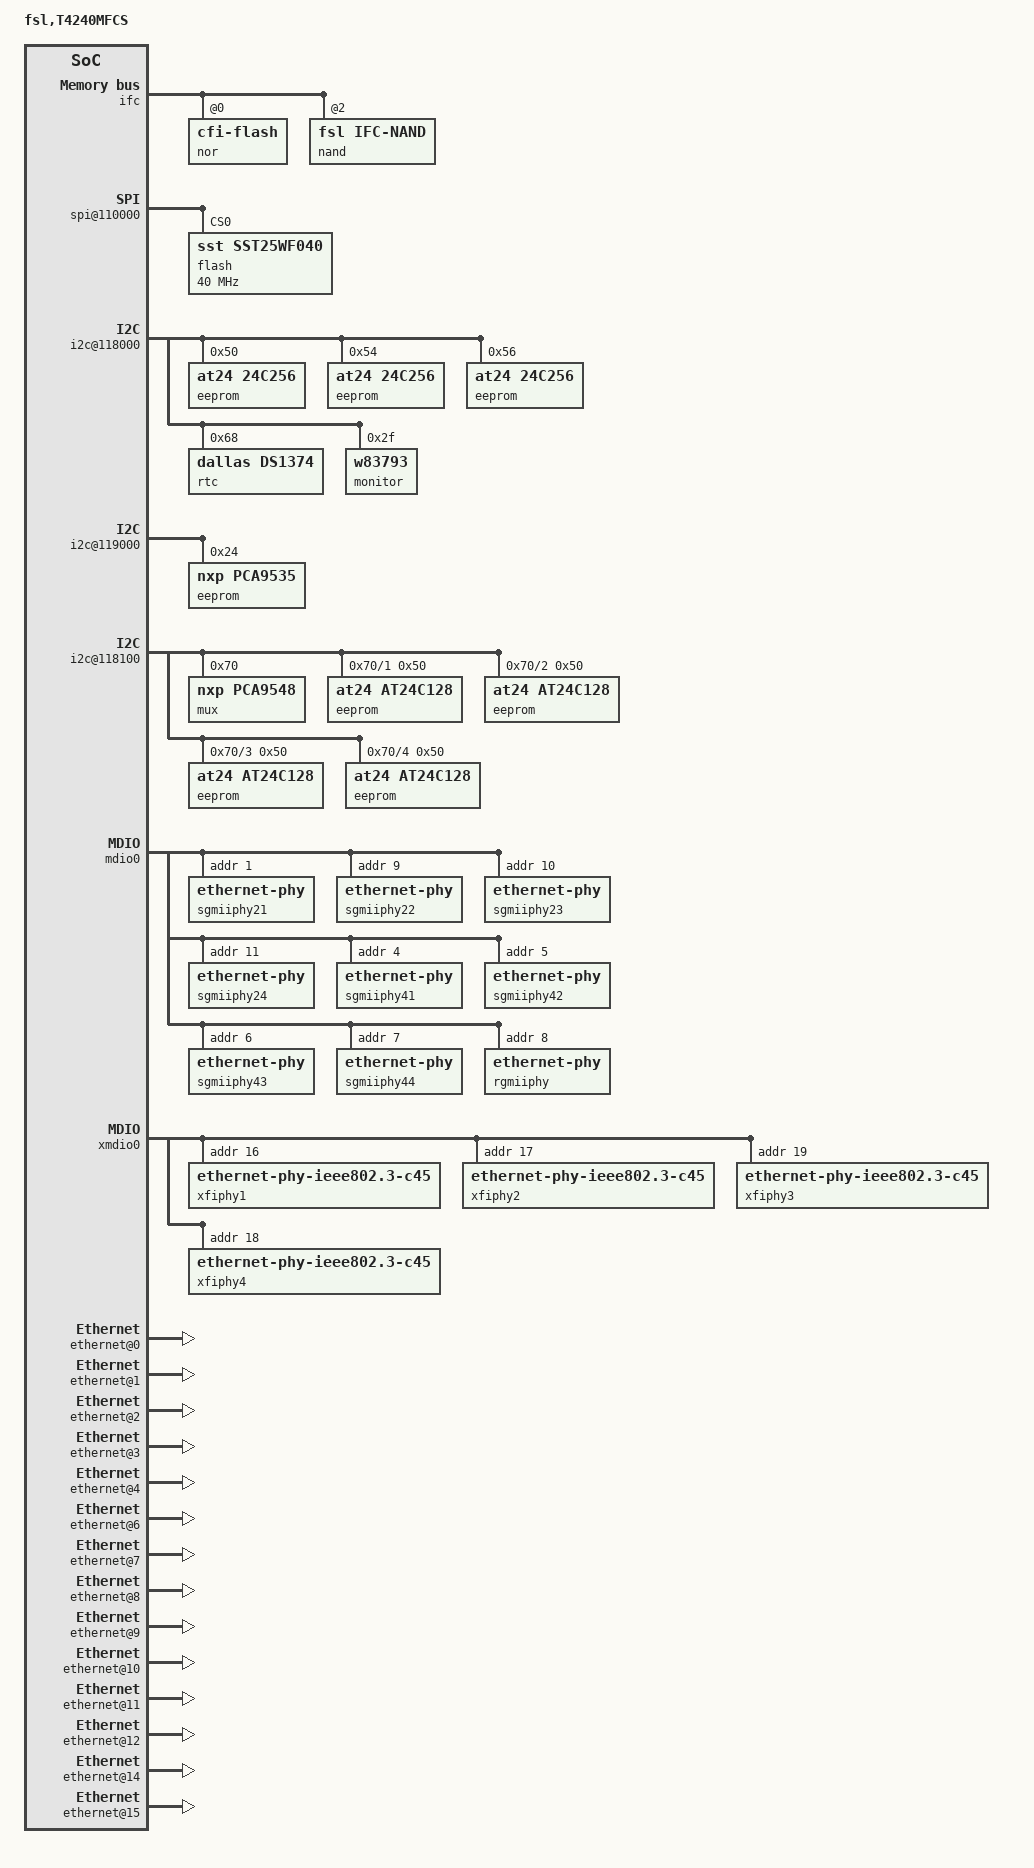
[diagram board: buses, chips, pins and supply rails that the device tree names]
/*
 * T4240MFCS Device Tree Source
 *
 * Copyright 2014 Freescale Semiconductor Inc.
 *
 * Redistribution and use in source and binary forms, with or without
 * modification, are permitted provided that the following conditions are met:
 *     * Redistributions of source code must retain the above copyright
 *	 notice, this list of conditions and the following disclaimer.
 *     * Redistributions in binary form must reproduce the above copyright
 *	 notice, this list of conditions and the following disclaimer in the
 *	 documentation and/or other materials provided with the distribution.
 *     * Neither the name of Freescale Semiconductor nor the
 *	 names of its contributors may be used to endorse or promote products
 *	 derived from this software without specific prior written permission.
 *
 *
 * ALTERNATIVELY, this software may be distributed under the terms of the
 * GNU General Public License ("GPL") as published by the Free Software
 * Foundation, either version 2 of that License or (at your option) any
 * later version.
 *
 * THIS SOFTWARE IS PROVIDED BY Freescale Semiconductor "AS IS" AND ANY
 * EXPRESS OR IMPLIED WARRANTIES, INCLUDING, BUT NOT LIMITED TO, THE IMPLIED
 * WARRANTIES OF MERCHANTABILITY AND FITNESS FOR A PARTICULAR PURPOSE ARE
 * DISCLAIMED. IN NO EVENT SHALL Freescale Semiconductor BE LIABLE FOR ANY
 * DIRECT, INDIRECT, INCIDENTAL, SPECIAL, EXEMPLARY, OR CONSEQUENTIAL DAMAGES
 * (INCLUDING, BUT NOT LIMITED TO, PROCUREMENT OF SUBSTITUTE GOODS OR SERVICES;
 * LOSS OF USE, DATA, OR PROFITS; OR BUSINESS INTERRUPTION) HOWEVER CAUSED AND
 * ON ANY THEORY OF LIABILITY, WHETHER IN CONTRACT, STRICT LIABILITY, OR TORT
 * (INCLUDING NEGLIGENCE OR OTHERWISE) ARISING IN ANY WAY OUT OF THE USE OF THIS
 * SOFTWARE, EVEN IF ADVISED OF THE POSSIBILITY OF SUCH DAMAGE.
 */

/include/ "fsl/t4240si-pre.dtsi"

/ {
	model = "fsl,T4240MFCS";
	compatible = "fsl,T4240MFCS";
	#address-cells = <2>;
	#size-cells = <2>;
	interrupt-parent = <&mpic>;

	aliases {
		sgmii_phy21 = &sgmiiphy21;
		sgmii_phy22 = &sgmiiphy22;
		sgmii_phy23 = &sgmiiphy23;
		sgmii_phy24 = &sgmiiphy24;
		rgmii_phy   = &rgmiiphy;
		sgmii_phy41 = &sgmiiphy41;
		sgmii_phy42 = &sgmiiphy42;
		sgmii_phy43 = &sgmiiphy43;
		sgmii_phy44 = &sgmiiphy44;
		phy_xfi1 = &xfiphy1;
		phy_xfi2 = &xfiphy2;
		phy_xfi3 = &xfiphy3;
		phy_xfi4 = &xfiphy4;
		/*DPAA*/
		ethernet0 = &enet0;
		ethernet1 = &enet1;
		ethernet2 = &enet2;
		ethernet3 = &enet3;
		ethernet4 = &enet4;
		ethernet5 = &enet5;
		ethernet6 = &enet6;
		ethernet7 = &enet7;
		ethernet8 = &enet8;
		ethernet9 = &enet9;
		ethernet10 = &enet10;
		ethernet11 = &enet11;
		ethernet12 = &enet12;
		ethernet13 = &enet13;
		ethernet14 = &enet14;
		ethernet15 = &enet15;
	};

	ifc: localbus@ffe124000 {
		reg = <0xf 0xfe124000 0 0x2000>;
		ranges = <0 0 0xf 0xe8000000 0x08000000
			  2 0 0xf 0xff800000 0x00010000
			  3 0 0xf 0xffdf0000 0x00008000>;

		nor@0,0 {
			#address-cells = <1>;
			#size-cells = <1>;
			compatible = "cfi-flash";
			reg = <0x0 0x0 0x8000000>;

			bank-width = <2>;
			device-width = <1>;
		};

		nand@2,0 {
			#address-cells = <1>;
			#size-cells = <1>;
			compatible = "fsl,ifc-nand";
			reg = <0x2 0x0 0x10000>;
		};
	};

	memory {
		device_type = "memory";
	};

	dcsr: dcsr@f00000000 {
		ranges = <0x00000000 0xf 0x00000000 0x01072000>;
	};

	bportals: bman-portals@ff4000000 {
		ranges = <0x0 0xf 0xf4000000 0x2000000>;
	};

	qportals: qman-portals@ff6000000 {
		ranges = <0x0 0xf 0xf6000000 0x2000000>;
	};

	lportals: lac-portals@ff8000000 {
		ranges = <0x0 0xf 0xf8000000 0x20000>;
	};

	soc: soc@ffe000000 {
		ranges = <0x00000000 0xf 0xfe000000 0x1000000>;
		reg = <0xf 0xfe000000 0 0x00001000>;
		spi@110000 {
			flash@0 {
				#address-cells = <1>;
				#size-cells = <1>;
				compatible = "sst,sst25wf040";
				reg = <0>;
				spi-max-frequency = <40000000>; /* input clock */
			};
		};

		i2c@118000 {
			eeprom@50 {
				compatible = "at24,24c256";
				reg = <0x50>;
			};
			eeprom@54 {
				compatible = "at24,24c256";
				reg = <0x54>;
			};
			eeprom@56 {
				compatible = "at24,24c256";
				reg = <0x56>;
			};
			rtc@68 {
				compatible = "dallas,ds1374";
				reg = <0x68>;
				interrupts = <0x1 0x1 0 0>;
			};
			monitor@2f {
				compatible = "w83793";
				reg = <0x2f>;
			};
		};

		i2c@119000 {
                        eeprom@52 {
                                compatible = "nxp,pca9535";
                		  reg = <0x24>;
                        };
                };


		 i2c@118100 {
                 
			mux@70 {
		                  compatible = "nxp,pca9548";  /*MUX*/
                		  reg = <0x70>;
         		         #address-cells = <1>;
               		         #size-cells = <0>;
 
			i2c@1 {                                /*SFP1*/
                                #address-cells = <1>;
                                #size-cells = <0>;
                                reg = <1>;

                          	 eeprom@50 {
					 compatible = "at24,at24c128";
                                         reg = <0x50>; 
                                        };
                                };
			
			i2c@2 {                                /*SFP2*/
                                #address-cells = <1>;
                                #size-cells = <0>;
                                reg = <2>;

                                 eeprom@50 {
                                         compatible = "at24,at24c128";
                                         reg = <0x50>;
                                        };
                                };
			i2c@3 {                               /*SFP3*/
                                #address-cells = <1>;
                                #size-cells = <0>;
                                reg = <3>;

                                 eeprom@50 {
                                         compatible = "at24,at24c128";
                                         reg = <0x50>;
                                        };
                                };
			i2c@4 {                               /*SFP4*/
                                #address-cells = <1>;
                                #size-cells = <0>;
                                reg = <4>;

                                 eeprom@50 {
                                         compatible = "at24,at24c128";
                                         reg = <0x50>;
                                        };
                                };


        		      };

               		  };





		fman0: fman@400000 {
			enet0: ethernet@e0000 {
				phy-handle = <&sgmiiphy21>; /*FM1 MAC1*/
				phy-connection-type = "sgmii";
			};

			enet1: ethernet@e2000 {
				phy-handle = <&sgmiiphy22>; /*FM1 MAC2*/
				phy-connection-type = "sgmii";
			};

			enet2: ethernet@e4000 {
				phy-handle = <&sgmiiphy23>; /*FM1 MAC3*/
				phy-connection-type = "sgmii";
			};

			enet3: ethernet@e6000 {
				phy-handle = <&sgmiiphy24>; /*FM1 MAC4*/
				phy-connection-type = "sgmii";
			};

			enet4: ethernet@e8000 { /*FM1 MAC5*/
				phy-handle = <&rgmiiphy>;
				phy-connection-type = "rgmii";
			};

			enet5: ethernet@ea000 { /*FM1 MAC6*/
				status = "disabled";
			};

			enet6: ethernet@f0000 { /* FM1@TSEC9/FM1@TGEC1 */
				phy-handle = <&xfiphy1>;
				phy-connection-type = "xgmii";
			};

			enet7: ethernet@f2000 { /* FM1@TSEC10/FM1@TGEC2 */
				phy-handle = <&xfiphy2>;
				phy-connection-type = "xgmii";
			};

			mdio@fc000 {
				status = "disabled";
			};

			mdio@fd000 {
				status = "disabled";
			};

			fman0_oh2 {
				status = "disabled";
			};
			fman0_oh3 {
				status = "disabled";
			};
			fman0_oh4 {
				status = "disabled";
			};
			fman0_oh5 {
				status = "disabled";
			};
			fman0_oh6 {
				status = "disabled";
			};
		};

		fman1: fman@500000 {
			enet8: ethernet@e0000 {
				phy-handle = <&sgmiiphy41>; /*FM2 MAC1*/
				phy-connection-type = "sgmii";
			};

			enet9: ethernet@e2000 {
				phy-handle = <&sgmiiphy42>;/*FM2 MAC2*/
				phy-connection-type = "sgmii";
			};

			enet10: ethernet@e4000 {
				phy-handle = <&sgmiiphy43>;/*FM2 MAC3*/
				phy-connection-type = "sgmii";
			};

			enet11: ethernet@e6000 {
				phy-handle = <&sgmiiphy44>;/*FM2 MAC4*/
				phy-connection-type = "sgmii";
			};

			enet12: ethernet@e8000 { /*FM2 MAC5*/
				fixed-link = <1 1 100 0 0 >;
				phy-connection-type = "rgmii";
			};

			enet13: ethernet@ea000 { /*FM2 MAC6*/
				status = "disabled";
			};

			enet14: ethernet@f0000 { /* FM2@TSEC9/FM2@TGEC1 */
				phy-handle = <&xfiphy3>;
				phy-connection-type = "xgmii";
			};

			enet15: ethernet@f2000 { /* FM2@TSEC10/FM2@TGEC2 */
				phy-handle = <&xfiphy4>;
				phy-connection-type = "xgmii";
			};

			mdio0: mdio@fc000 {
				sgmiiphy21: ethernet-phy@0 {
					reg = <0x1>;
				};

				sgmiiphy22: ethernet-phy@1 {
					reg = <0x9>;
				};

				sgmiiphy23: ethernet-phy@2 {
					reg = <0xA>;
				};

				sgmiiphy24: ethernet-phy@3 {
					reg = <0xB>;
				};

				sgmiiphy41: ethernet-phy@4 {
					reg = <0x4>;
				};

				sgmiiphy42: ethernet-phy@5 {
					reg = <0x5>;
				};

				sgmiiphy43: ethernet-phy@6 {
					reg = <0x6>;
				};

				sgmiiphy44: ethernet-phy@7 {
					reg = <0x7>;
				};
				
				rgmiiphy: ethernet-phy@8 {
					reg = <0x8>;
				};
			};

			xmdio0: mdio@fd000 {
				xfiphy1: ethernet-phy@10 {
					compatible = "ethernet-phy-ieee802.3-c45";
					reg = <0x10>;
				};

				xfiphy2: ethernet-phy@11 {
					compatible = "ethernet-phy-ieee802.3-c45";
					reg = <0x11>;
				};

				xfiphy3: ethernet-phy@13 {
					compatible = "ethernet-phy-ieee802.3-c45";
					reg = <0x13>;
				};

				xfiphy4: ethernet-phy@12 {
					compatible = "ethernet-phy-ieee802.3-c45";
					reg = <0x12>;
				};
			};

			fman1_oh3 {
				status = "disabled";
			};
			fman1_oh4 {
				status = "disabled";
			};
			fman1_oh5 {
				status = "disabled";
			};
			fman1_oh6 {
				status = "disabled";
			};
		};

		sdhc@114000 {
			voltage-ranges = <1800 1800 3300 3300>;
		};
	};

	pci0: pcie@ffe240000 {
		reg = <0xf 0xfe240000 0 0x10000>;
		ranges = <0x02000000 0 0xe0000000 0xc 0x00000000 0x0 0x20000000
			  0x01000000 0 0x00000000 0xf 0xf8000000 0x0 0x00010000>;

		pcie@0 {
			ranges = <0x02000000 0 0xe0000000
				  0x02000000 0 0xe0000000
				  0 0x20000000

				  0x01000000 0 0x00000000
				  0x01000000 0 0x00000000
				  0 0x00010000>;
		};
	};

	pci1: pcie@ffe250000 {
		reg = <0xf 0xfe250000 0 0x10000>;
		ranges = <0x02000000 0x0 0xe0000000 0xc 0x20000000 0x0 0x20000000
			  0x01000000 0x0 0x00000000 0xf 0xf8010000 0x0 0x00010000>;
		pcie@0 {
			ranges = <0x02000000 0 0xe0000000
				  0x02000000 0 0xe0000000
				  0 0x20000000

				  0x01000000 0 0x00000000
				  0x01000000 0 0x00000000
				  0 0x00010000>;
		};
	};

	pci2: pcie@ffe260000 {
		reg = <0xf 0xfe260000 0 0x1000>;
		ranges = <0x02000000 0 0xe0000000 0xc 0x40000000 0 0x20000000
			  0x01000000 0 0x00000000 0xf 0xf8020000 0 0x00010000>;
		pcie@0 {
			ranges = <0x02000000 0 0xe0000000
				  0x02000000 0 0xe0000000
				  0 0x20000000

				  0x01000000 0 0x00000000
				  0x01000000 0 0x00000000
				  0 0x00010000>;
		};
	};

	pci3: pcie@ffe270000 {
		reg = <0xf 0xfe270000 0 0x10000>;
		ranges = <0x02000000 0 0xe0000000 0xc 0x60000000 0 0x20000000
			  0x01000000 0 0x00000000 0xf 0xf8030000 0 0x00010000>;
		pcie@0 {
			ranges = <0x02000000 0 0xe0000000
				  0x02000000 0 0xe0000000
				  0 0x20000000

				  0x01000000 0 0x00000000
				  0x01000000 0 0x00000000
				  0 0x00010000>;
		};
	};
	rio: rapidio@ffe0c0000 {
		reg = <0xf 0xfe0c0000 0 0x11000>;

		port1 {
			ranges = <0 0 0xc 0x20000000 0 0x10000000>;
		};
	};

	fsl,dpaa {
		compatible = "fsl,t4240-dpaa", "fsl,dpaa";
		ethernet@0 {
			compatible = "fsl,t4240-dpa-ethernet", "fsl,dpa-ethernet";
			fsl,fman-mac = <&enet0>;
		};
		ethernet@1 {
			compatible = "fsl,t4240-dpa-ethernet", "fsl,dpa-ethernet";
			fsl,fman-mac = <&enet1>;
		};
		ethernet@2 {
			compatible = "fsl,t4240-dpa-ethernet", "fsl,dpa-ethernet";
			fsl,fman-mac = <&enet2>;
		};
		ethernet@3 {
			compatible = "fsl,t4240-dpa-ethernet", "fsl,dpa-ethernet";
			fsl,fman-mac = <&enet3>;
		};
		ethernet@4 {
			compatible = "fsl,t4240-dpa-ethernet", "fsl,dpa-ethernet";
			fsl,fman-mac = <&enet4>;
		};
		ethernet@5 {
			compatible = "fsl,t4240-dpa-ethernet", "fsl,dpa-ethernet";
			fsl,fman-mac = <&enet5>;
			status = "disabled";
		};
		ethernet@6 {
			compatible = "fsl,t4240-dpa-ethernet", "fsl,dpa-ethernet";
			fsl,fman-mac = <&enet6>;
		};
		ethernet@7 {
			compatible = "fsl,t4240-dpa-ethernet", "fsl,dpa-ethernet";
			fsl,fman-mac = <&enet7>;
		};
		ethernet@8 {
			compatible = "fsl,t4240-dpa-ethernet", "fsl,dpa-ethernet";
			fsl,fman-mac = <&enet8>;
		};
		ethernet@9 {
			compatible = "fsl,t4240-dpa-ethernet", "fsl,dpa-ethernet";
			fsl,fman-mac = <&enet9>;
		};
		ethernet@10 {
			compatible = "fsl,t4240-dpa-ethernet", "fsl,dpa-ethernet";
			fsl,fman-mac = <&enet10>;
		};
		ethernet@11 {
			compatible = "fsl,t4240-dpa-ethernet", "fsl,dpa-ethernet";
			fsl,fman-mac = <&enet11>;
		};
		ethernet@12 {
			compatible = "fsl,t4240-dpa-ethernet", "fsl,dpa-ethernet";
			fsl,fman-mac = <&enet12>;
		};
		ethernet@13 {
			compatible = "fsl,t4240-dpa-ethernet", "fsl,dpa-ethernet";
			fsl,fman-mac = <&enet13>;
			status = "disabled";
		};
		ethernet@14 {
			compatible = "fsl,t4240-dpa-ethernet", "fsl,dpa-ethernet";
			fsl,fman-mac = <&enet14>;
		};
		ethernet@15 {
			compatible = "fsl,t4240-dpa-ethernet", "fsl,dpa-ethernet";
			fsl,fman-mac = <&enet15>;
		};
	};
};

/include/ "fsl/t4240si-post.dtsi"
/include/ "fsl/qoriq-dpaa-res3.dtsi"
/include/ "fsl/qoriq-qman-ceetm0.dtsi"
/include/ "fsl/qoriq-qman-ceetm1.dtsi"
